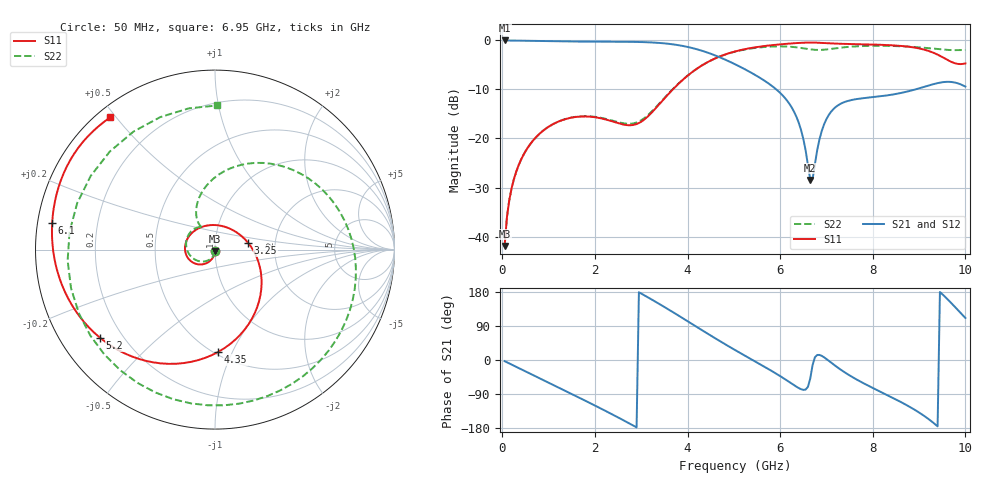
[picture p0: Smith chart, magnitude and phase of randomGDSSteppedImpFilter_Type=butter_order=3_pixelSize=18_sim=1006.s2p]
! freq	dB(S11)	phase(S11)	dB(S12)	phase(S12)
!  dB(S21)	phase(S21)	dB(S22)	phase(S22)
!S-par simulation data
#  GHz  S  DB  R 50
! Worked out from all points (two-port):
!   200 points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, 50 MHz to 10 GHz, reference 50 ohm
!   highest |S21| = -0.02 dB at 50 MHz (marker M1); lowest = -28.5 dB at 6.65 GHz (marker M2)
!   |S21| within 3 dB of the highest: start of sweep to 4.583 GHz
!   lowest |S11| = -41.9 dB at 50 MHz (marker M3), VSWR 1.02, Z = 50.1 - j0.798 ohm
!   |S11| at or under -10 dB: start of sweep to 3.682 GHz
!   |S22| runs from -42.0 to -1.1 dB; largest |S21 - S12| = 0
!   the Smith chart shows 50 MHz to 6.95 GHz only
!   S11 on the Smith chart (normalised r, x): 50 MHz: 1.00, -0.02; 3.25 GHz: 1.45, +0.11; 4.35 GHz: 0.52, -0.88; 5.2 GHz: 0.12, -0.33; 6.1 GHz: 0.04, +0.08; 6.95 GHz: 0.04, +0.48
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0.05  -41.92 -83.8  -0.02 -3.1  -0.02 -3.1  -41.96 -84.7
0.2  -30.19 -98.6  -0.03 -12.1  -0.03 -12.1  -30.22 -101.9
0.5  -22.62 -116.0  -0.07 -30.0  -0.07 -30.0  -22.64 -124.2
1.75  -15.51 174.6  -0.25 -104.9  -0.25 -104.9  -15.46 154.0
2.6  -17.13 102.3  -0.28 -158.0  -0.28 -158.0  -16.88 119.9
3.25  -14.49 11.4  -0.43 157.9  -0.43 157.9  -14.28 120.9
3.4  -12.92 -6.4  -0.53 147.2  -0.53 147.2  -12.77 117.2
4.35  -4.89 -88.1  -2.23 75.8  -2.23 75.8  -4.88 57.1
5.05  -2.19 -133.8  -4.98 24.6  -4.98 24.6  -2.24 0.7
5.2  -1.86 -142.5  -5.70 14.1  -5.70 14.1  -1.93 -11.6
5.65  -1.16 -166.9  -8.15 -17.0  -8.15 -17.0  -1.35 -50.5
6.1  -0.73 170.6  -11.71 -50.3  -11.71 -50.3  -1.24 -99.0
6.35  -0.55 158.3  -15.55 -70.3  -15.55 -70.3  -1.42 -136.4
6.65  -0.45 143.3  -28.46 -48.9  -28.46 -48.9  -1.83 161.3
6.7  -0.45 140.8  -28.34 -13.4  -28.34 -13.4  -1.88 149.3
6.95  -0.54 128.4  -17.08 7.0  -17.08 7.0  -1.90 89.0
7.2  -0.65 116.7  -13.58 -16.1  -13.58 -16.1  -1.61 40.3
7.45  -0.73 105.0  -12.38 -36.9  -12.38 -36.9  -1.34 5.7
8.35  -0.97 56.4  -11.16 -94.9  -11.16 -94.9  -1.12 -62.5
9.15  -1.99 -11.3  -9.36 -151.0  -9.36 -151.0  -1.54 -99.5
9.6  -3.91 -83.2  -8.45 162.1  -8.45 162.1  -1.94 -116.7
10  -4.70 -175.5  -9.41 110.8  -9.41 110.8  -1.95 -133.6
